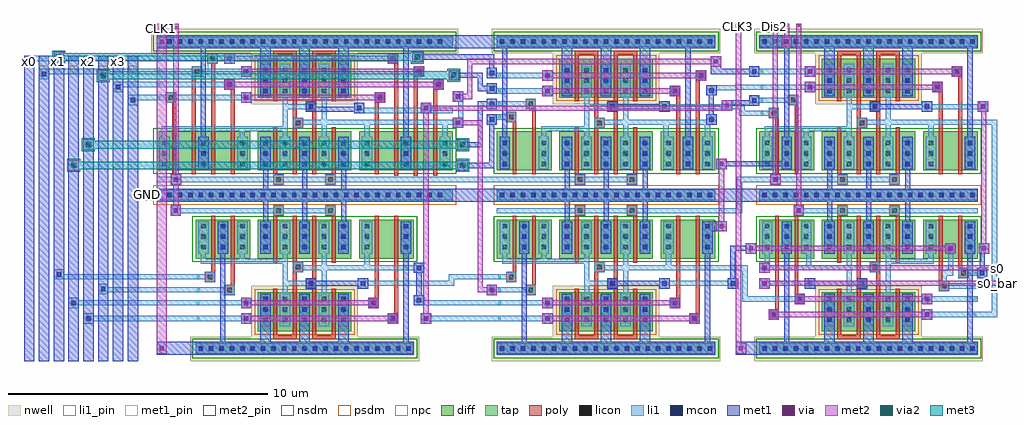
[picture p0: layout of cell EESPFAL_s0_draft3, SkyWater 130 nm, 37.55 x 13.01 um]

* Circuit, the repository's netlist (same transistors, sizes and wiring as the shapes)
* NGSPICE file created from EESPFAL_s0_draft3.ext - technology: sky130A

.subckt EESPFAL_XOR_v3 OUT A A_bar B B_bar Dis OUT_bar GND CLK
X0 CLK OUT OUT_bar CLK sky130_fd_pr__pfet_01v8 ad=2.7e+12p pd=1.26e+07u as=9e+11p ps=4.2e+06u w=1.5e+06u l=150000u M=2
X1 OUT_bar Dis GND GND sky130_fd_pr__nfet_01v8 ad=2.7e+12p pd=1.26e+07u as=2.7e+12p ps=1.26e+07u w=1.5e+06u l=150000u
X2 a_n840_410# A CLK GND sky130_fd_pr__nfet_01v8 ad=9e+11p pd=4.2e+06u as=7.5e+12p ps=3.22e+07u w=1.5e+06u l=150000u
X3 a_n1140_410# B_bar OUT_bar GND sky130_fd_pr__nfet_01v8 ad=9e+11p pd=4.2e+06u as=0p ps=0u w=1.5e+06u l=150000u
X4 a_420_410# B_bar OUT GND sky130_fd_pr__nfet_01v8 ad=9e+11p pd=4.2e+06u as=2.7e+12p ps=1.26e+07u w=1.5e+06u l=150000u
X5 GND Dis OUT GND sky130_fd_pr__nfet_01v8 ad=0p pd=0u as=0p ps=0u w=1.5e+06u l=150000u
X6 OUT OUT_bar CLK CLK sky130_fd_pr__pfet_01v8 ad=9e+11p pd=4.2e+06u as=0p ps=0u w=1.5e+06u l=150000u M=2
X7 a_720_410# A_bar CLK GND sky130_fd_pr__nfet_01v8 ad=9e+11p pd=4.2e+06u as=0p ps=0u w=1.5e+06u l=150000u
X8 OUT_bar B a_n840_410# GND sky130_fd_pr__nfet_01v8 ad=0p pd=0u as=0p ps=0u w=1.5e+06u l=150000u
X9 GND OUT OUT_bar GND sky130_fd_pr__nfet_01v8 ad=0p pd=0u as=0p ps=0u w=1.5e+06u l=150000u
X10 CLK A_bar a_n1140_410# GND sky130_fd_pr__nfet_01v8 ad=0p pd=0u as=0p ps=0u w=1.5e+06u l=150000u
X11 OUT OUT_bar GND GND sky130_fd_pr__nfet_01v8 ad=0p pd=0u as=0p ps=0u w=1.5e+06u l=150000u
X12 CLK A a_420_410# GND sky130_fd_pr__nfet_01v8 ad=0p pd=0u as=0p ps=0u w=1.5e+06u l=150000u
X13 OUT B a_720_410# GND sky130_fd_pr__nfet_01v8 ad=0p pd=0u as=0p ps=0u w=1.5e+06u l=150000u
.ends

.subckt EESPFAL_NOR_v3 OUT A A_bar B B_bar Dis OUT_bar GND CLK
X0 a_n1820_550# A_bar CLK GND sky130_fd_pr__nfet_01v8 ad=9e+11p pd=4.2e+06u as=6e+12p ps=2.62e+07u w=1.5e+06u l=150000u
X1 OUT_bar Dis GND GND sky130_fd_pr__nfet_01v8 ad=1.8e+12p pd=8.4e+06u as=2.7e+12p ps=1.26e+07u w=1.5e+06u l=150000u
X2 OUT OUT_bar CLK CLK sky130_fd_pr__pfet_01v8 ad=9e+11p pd=4.2e+06u as=2.7e+12p ps=1.26e+07u w=1.5e+06u l=150000u M=2
X3 CLK OUT OUT_bar CLK sky130_fd_pr__pfet_01v8 ad=0p pd=0u as=9e+11p ps=4.2e+06u w=1.5e+06u l=150000u M=2
X4 OUT_bar B_bar a_n1820_550# GND sky130_fd_pr__nfet_01v8 ad=0p pd=0u as=0p ps=0u w=1.5e+06u l=150000u
X5 GND Dis OUT GND sky130_fd_pr__nfet_01v8 ad=0p pd=0u as=2.7e+12p ps=1.26e+07u w=1.5e+06u l=150000u
X6 OUT A CLK GND sky130_fd_pr__nfet_01v8 ad=0p pd=0u as=0p ps=0u w=1.5e+06u l=150000u
X7 GND OUT OUT_bar GND sky130_fd_pr__nfet_01v8 ad=0p pd=0u as=0p ps=0u w=1.5e+06u l=150000u
X8 OUT OUT_bar GND GND sky130_fd_pr__nfet_01v8 ad=0p pd=0u as=0p ps=0u w=1.5e+06u l=150000u
X9 CLK B OUT GND sky130_fd_pr__nfet_01v8 ad=0p pd=0u as=0p ps=0u w=1.5e+06u l=150000u
.ends

.subckt EESPFAL_NAND_v3 OUT A A_bar B B_bar Dis OUT_bar GND CLK
X0 CLK OUT_bar OUT CLK sky130_fd_pr__pfet_01v8 ad=2.7e+12p pd=1.26e+07u as=9e+11p ps=4.2e+06u w=1.5e+06u l=150000u M=2
X1 CLK A a_n2940_320# GND sky130_fd_pr__nfet_01v8 ad=6e+12p pd=2.62e+07u as=9e+11p ps=4.2e+06u w=1.5e+06u l=150000u
X2 CLK OUT OUT_bar CLK sky130_fd_pr__pfet_01v8 ad=0p pd=0u as=9e+11p ps=4.2e+06u w=1.5e+06u l=150000u M=2
X3 CLK B_bar OUT_bar GND sky130_fd_pr__nfet_01v8 ad=0p pd=0u as=2.7e+12p ps=1.26e+07u w=1.5e+06u l=150000u
X4 OUT OUT_bar GND GND sky130_fd_pr__nfet_01v8 ad=1.8e+12p pd=8.4e+06u as=2.7e+12p ps=1.26e+07u w=1.5e+06u l=150000u
X5 OUT_bar Dis GND GND sky130_fd_pr__nfet_01v8 ad=0p pd=0u as=0p ps=0u w=1.5e+06u l=150000u
X6 OUT_bar A_bar CLK GND sky130_fd_pr__nfet_01v8 ad=0p pd=0u as=0p ps=0u w=1.5e+06u l=150000u
X7 a_n2940_320# B OUT GND sky130_fd_pr__nfet_01v8 ad=0p pd=0u as=0p ps=0u w=1.5e+06u l=150000u
X8 GND Dis OUT GND sky130_fd_pr__nfet_01v8 ad=0p pd=0u as=0p ps=0u w=1.5e+06u l=150000u
X9 GND OUT OUT_bar GND sky130_fd_pr__nfet_01v8 ad=0p pd=0u as=0p ps=0u w=1.5e+06u l=150000u
.ends

.subckt EESPFAL_s0_draft3 GND x0 x0_bar x1 x1_bar x2 x2_bar x3 x3_bar CLK1 Dis1 CLK3
+ Dis2 CLK2 Dis3 s0 s0_bar
XEESPFAL_XOR_v3_0 EESPFAL_NAND_v3_0/A x0 x0_bar x3 x3_bar Dis1 EESPFAL_NAND_v3_2/A
+ GND CLK1 EESPFAL_XOR_v3
XEESPFAL_NOR_v3_0 s0 EESPFAL_NOR_v3_0/A EESPFAL_NOR_v3_0/A_bar EESPFAL_NOR_v3_0/B
+ EESPFAL_NOR_v3_0/B_bar Dis3 s0_bar GND CLK3 EESPFAL_NOR_v3
XEESPFAL_NOR_v3_1 EESPFAL_NAND_v3_0/B x1 x1_bar x2_bar x2 Dis1 EESPFAL_NAND_v3_0/B_bar
+ GND CLK1 EESPFAL_NOR_v3
XEESPFAL_NAND_v3_0 EESPFAL_NOR_v3_0/A EESPFAL_NAND_v3_0/A EESPFAL_NAND_v3_2/A EESPFAL_NAND_v3_0/B
+ EESPFAL_NAND_v3_0/B_bar Dis2 EESPFAL_NOR_v3_0/A_bar GND CLK2 EESPFAL_NAND_v3
XEESPFAL_NAND_v3_1 EESPFAL_NAND_v3_2/B x2 x2_bar x1_bar x1 Dis1 EESPFAL_NAND_v3_2/B_bar
+ GND CLK1 EESPFAL_NAND_v3
XEESPFAL_NAND_v3_2 EESPFAL_NOR_v3_0/B EESPFAL_NAND_v3_2/A EESPFAL_NAND_v3_0/A EESPFAL_NAND_v3_2/B
+ EESPFAL_NAND_v3_2/B_bar Dis2 EESPFAL_NOR_v3_0/B_bar GND CLK2 EESPFAL_NAND_v3
.ends

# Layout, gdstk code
from math import pi, radians
import gdstk
lib = gdstk.Library(unit=1e-6, precision=1e-09)
def R(c, l, rs):  # rectangles x0, y0, x1, y1
    for r in rs: c.add(gdstk.rectangle(r[:2], r[2:], *l))
def A(c, l, x, y, w, h, nx, ny, dx, dy):  # array of equal rectangles
    R(c, l, [(x+i*dx, y+j*dy, x+i*dx+w, y+j*dy+h) for i in range(nx) for j in range(ny)])
def P(c, l, *ps):  # polygons
    for p in ps: c.add(gdstk.Polygon(p, *l))
nwell = (64, 20)
diff = (65, 20)
tap = (65, 44)
poly = (66, 20)
licon = (66, 44)
li1_pin = (67, 16)
li1 = (67, 20)
mcon = (67, 44)
met1_pin = (68, 16)
met1 = (68, 20)
via = (68, 44)
met2_pin = (69, 16)
met2 = (69, 20)
via2 = (69, 44)
met3 = (70, 20)
nsdm = (93, 44)
psdm = (94, 20)
npc = (95, 20)

eespfal_nor_v3 = lib.new_cell('EESPFAL_NOR_v3')
R(eespfal_nor_v3, nwell, [(-7.7,5.3,-3.6,7.25), (-10.05,7.25,-1.25,8.2)])
R(eespfal_nor_v3, diff, [(-9.85,2.75,-7.75,4.25), (-7.45,2.75,-3.85,4.25), (-3.55,2.75,-1.45,4.25), (-7.45,5.55,-3.85,7.05)])
R(eespfal_nor_v3, tap, [(-9.85,1.55,-1.45,2.05), (-9.85,7.45,-1.45,7.95)])
R(eespfal_nor_v3, poly, [(-6.85,2.2,-6.45,2.6), (-4.85,2.2,-4.45,2.6), (-9.25,2.6,-9.1,4.6), (-8.5,2.6,-8.35,5.1), (-6.85,2.6,-6.7,4.4), (-6.1,2.6,-5.95,4.4), (-5.35,2.6,-5.2,5), (-4.6,2.6,-4.45,4.4), (-2.95,2.6,-2.8,5.6), (-2.2,2.6,-2.05,6.2), (-6.1,4.375,-5.7,4.775), (-9.5,4.6,-9.1,5), (-6.1,4.775,-5.95,7.2), (-5.6,5,-5.2,5.4), (-8.75,5.1,-8.35,5.5), (-6.85,5.4,-6.7,7.2), (-5.35,5.4,-5.2,7.2), (-4.6,5.4,-4.45,7.2), (-3.2,5.6,-2.8,6), (-2.2,6.2,-1.8,6.6), (-6.85,7.2,-5.95,7.35), (-5.35,7.2,-4.45,7.35)])
A(eespfal_nor_v3, licon, -9.735, 1.715, 0.17, 0.17, 21, 2, 0.4, 5.9)
A(eespfal_nor_v3, licon, -9.635, 2.915, 0.17, 0.17, 1, 3, 0, 0.4)
A(eespfal_nor_v3, licon, -8.135, 2.915, 0.17, 0.17, 1, 3, 0, 0.4)
A(eespfal_nor_v3, licon, -7.235, 2.915, 0.17, 0.17, 5, 3, 0.75, 0.4)
A(eespfal_nor_v3, licon, -3.335, 2.915, 0.17, 0.17, 3, 3, 0.75, 0.4)
A(eespfal_nor_v3, licon, -7.235, 5.715, 0.17, 0.17, 5, 3, 0.75, 0.4)
R(eespfal_nor_v3, licon, [(-6.735,2.315,-6.565,2.485), (-4.735,2.315,-4.565,2.485), (-5.985,4.49,-5.815,4.66), (-9.385,4.715,-9.215,4.885), (-5.485,5.115,-5.315,5.285), (-8.635,5.215,-8.465,5.385), (-3.085,5.715,-2.915,5.885), (-2.085,6.315,-1.915,6.485)])
A(eespfal_nor_v3, li1_pin, -9.8, 4.75, 0.1, 0.1, 1, 3, 0, 0.5)
R(eespfal_nor_v3, li1_pin, [(-6.75,2.3,-6.55,2.5), (-6,4.475,-5.8,4.675), (-9.8,6.35,-9.7,6.45)])
A(eespfal_nor_v3, li1, -7.35, 2.8, 0.4, 1.25, 5, 1, 0.75, 0)
A(eespfal_nor_v3, li1, -3.45, 2.8, 0.4, 1.25, 3, 1, 0.75, 0)
A(eespfal_nor_v3, li1, -8.1, 5.6, 0.4, 0.1, 1, 4, 0, 0.3)
A(eespfal_nor_v3, li1, -7.35, 5.6, 0.4, 1.25, 3, 1, 1.5, 0)
R(eespfal_nor_v3, li1, [(-9.85,1.6,-1.45,2), (-6.85,2.2,-6.45,2.3), (-4.85,2.2,-4.45,2.3), (-9.85,2.3,-4.45,2.5), (-6.85,2.5,-6.45,2.6), (-4.85,2.5,-4.45,2.6), (-9.75,2.8,-9.35,4.05), (-8.25,2.8,-7.85,4.05), (-3.45,4.05,-3.25,4.5), (-1.85,4.05,-1.65,4.5), (-6.1,4.375,-5.7,4.775), (-9.5,4.6,-9.1,4.7), (-9.85,4.7,-9.1,4.9), (-9.5,4.9,-9.1,5), (-5.6,5,-5.2,5.1), (-3.6,5,-3.2,5.1), (-8.75,5.1,-8.35,5.2), (-3.6,5.1,-1.45,5.3), (-9.85,5.2,-8.35,5.4), (-5.6,5.3,-5.2,5.4), (-3.6,5.3,-3.2,5.4), (-8.75,5.4,-8.35,5.5), (-6.6,5.55,-6.2,6.85), (-5.1,5.55,-4.7,6.85), (-3.2,5.6,-2.8,6), (-9.85,5.7,-7.7,5.9), (-2.2,6.2,-1.8,6.6), (-9.85,6.3,-7.7,6.5), (-9.85,7.5,-1.45,7.9)])
P(eespfal_nor_v3, li1, [(-5,4.05),(-5,4.5),(-5.7,4.5),(-5.7,4.7),(-5,4.7),(-5,5.55),(-4.8,5.55),(-4.8,4.7),(-1.45,4.7),(-1.45,4.5),(-4.8,4.5),(-4.8,4.05)],
  [(-8.15,4.05),(-8.15,4.45),(-6.5,4.45),(-6.5,5.55),(-6.3,5.55),(-6.3,5.3),(-5.2,5.3),(-5.2,5.1),(-6.3,5.1),(-6.3,4.05),(-6.5,4.05),(-6.5,4.25),(-7.95,4.25),(-7.95,4.05)])
A(eespfal_nor_v3, mcon, -9.735, 1.715, 0.17, 0.17, 21, 2, 0.4, 5.9)
A(eespfal_nor_v3, mcon, -9.635, 2.915, 0.17, 0.17, 1, 3, 0, 0.4)
A(eespfal_nor_v3, mcon, -7.235, 2.915, 0.17, 0.17, 3, 3, 1.5, 0.4)
A(eespfal_nor_v3, mcon, -2.585, 2.915, 0.17, 0.17, 1, 3, 0, 0.4)
A(eespfal_nor_v3, mcon, -7.235, 5.715, 0.17, 0.17, 3, 3, 1.5, 0.4)
R(eespfal_nor_v3, mcon, [(-5.485,5.115,-5.315,5.285), (-3.485,5.115,-3.315,5.285), (-7.985,5.715,-7.815,5.885), (-3.085,5.715,-2.915,5.885), (-7.985,6.315,-7.815,6.485), (-2.085,6.315,-1.915,6.485)])
R(eespfal_nor_v3, met1_pin, [(-5.75,1.7,-5.55,1.9), (-5.5,5.1,-5.3,5.3), (-5.75,7.6,-5.55,7.8)])
A(eespfal_nor_v3, met1, -7.25, 2.05, 0.2, 0.75, 3, 1, 1.5, 0)
A(eespfal_nor_v3, met1, -7.35, 2.8, 0.4, 1.25, 3, 1, 1.5, 0)
A(eespfal_nor_v3, met1, -7.35, 5.6, 0.4, 1.85, 3, 1, 1.5, 0)
R(eespfal_nor_v3, met1, [(-9.85,1.55,-1.45,2.05), (-9.75,2.8,-9.35,4.05), (-2.7,2.8,-2.3,4.05), (-9.65,4.05,-9.45,7.45), (-2.6,4.05,-2.4,7.45), (-5.6,5,-5.2,5.1), (-3.6,5,-3.2,5.1), (-5.6,5.1,-3.2,5.3), (-5.6,5.3,-5.2,5.4), (-3.6,5.3,-3.2,5.4), (-8.1,5.6,-7.7,6), (-3.2,5.6,-2.8,6), (-8.1,6.2,-7.7,6.6), (-2.2,6.2,-1.8,6.6), (-9.85,7.45,-1.45,7.95)])
R(eespfal_nor_v3, via, [(-7.975,5.725,-7.825,5.875), (-3.075,5.725,-2.925,5.875), (-7.975,6.325,-7.825,6.475), (-2.075,6.325,-1.925,6.475)])
A(eespfal_nor_v3, met2, -8.1, 5.6, 0.4, 0.1, 1, 4, 0, 0.3)
R(eespfal_nor_v3, met2, [(-3.2,5.6,-2.8,5.7), (-8.1,5.7,-2.8,5.9), (-3.2,5.9,-2.8,6), (-2.2,6.2,-1.8,6.3), (-8.1,6.3,-1.8,6.5), (-2.2,6.5,-1.8,6.6)])
R(eespfal_nor_v3, nsdm, [(-9.975,2.625,-1.325,4.375), (-9.975,7.325,-1.325,8.075)])
R(eespfal_nor_v3, psdm, [(-9.975,1.425,-1.325,2.175), (-7.575,5.425,-3.725,7.175)])
R(eespfal_nor_v3, npc, [(-6.835,2.215,-6.465,2.585), (-4.835,2.215,-4.465,2.585), (-6.085,4.39,-5.715,4.76), (-9.485,4.615,-9.115,4.985), (-5.585,5.015,-5.215,5.385), (-8.735,5.115,-8.365,5.485), (-3.185,5.615,-2.815,5.985), (-2.185,6.215,-1.815,6.585)])
eespfal_nor_v3.add(gdstk.Label('OUT', (-5.9,4.575), layer=67, texttype=16))
eespfal_nor_v3.add(gdstk.Label('A', (-9.75,6.4), layer=67, texttype=16))
eespfal_nor_v3.add(gdstk.Label('A_bar', (-9.75,4.8), layer=67, texttype=16))
eespfal_nor_v3.add(gdstk.Label('B', (-9.75,5.8), layer=67, texttype=16))
eespfal_nor_v3.add(gdstk.Label('B_bar', (-9.75,5.3), layer=67, texttype=16))
eespfal_nor_v3.add(gdstk.Label('Dis', (-6.65,2.4), layer=67, texttype=16))
eespfal_nor_v3.add(gdstk.Label('OUT_bar', (-5.4,5.2), layer=68, texttype=16))
eespfal_nor_v3.add(gdstk.Label('GND!', (-5.65,1.8), layer=68, texttype=16))
eespfal_nor_v3.add(gdstk.Label('CLK', (-5.65,7.7), layer=68, texttype=16))

eespfal_nand_v3 = lib.new_cell('EESPFAL_NAND_v3')
R(eespfal_nand_v3, nwell, [(-19.6,4.15,-15.5,6.1), (-21.95,6.1,-13.15,7.05)])
R(eespfal_nand_v3, diff, [(-21.75,1.6,-19.65,3.1), (-19.35,1.6,-15.75,3.1), (-15.45,1.6,-13.35,3.1), (-19.35,4.4,-15.75,5.9)])
R(eespfal_nand_v3, tap, [(-21.75,0.4,-13.35,0.9), (-21.75,6.3,-13.35,6.8)])
R(eespfal_nand_v3, poly, [(-18.75,1.05,-18.35,1.45), (-16.75,1.05,-16.35,1.45), (-21.15,1.45,-21,3.6), (-20.4,1.45,-20.25,4.1), (-18.75,1.45,-18.6,3.25), (-18,1.45,-17.85,3.25), (-17.25,1.45,-17.1,3.85), (-16.5,1.45,-16.35,3.25), (-14.85,1.45,-14.7,4.6), (-14.1,1.45,-13.95,5.2), (-18,3.225,-17.6,3.625), (-21.4,3.6,-21,4), (-18,3.625,-17.85,6.05), (-17.5,3.85,-17.1,4.25), (-20.65,4.1,-20.25,4.5), (-18.75,4.25,-18.6,6.05), (-17.25,4.25,-17.1,6.05), (-16.5,4.25,-16.35,6.05), (-15.1,4.6,-14.7,5), (-14.35,5.2,-13.95,5.6), (-18.75,6.05,-17.85,6.2), (-17.25,6.05,-16.35,6.2)])
A(eespfal_nand_v3, licon, -21.635, 0.565, 0.17, 0.17, 21, 2, 0.4, 5.9)
A(eespfal_nand_v3, licon, -21.535, 1.765, 0.17, 0.17, 3, 3, 0.75, 0.4)
A(eespfal_nand_v3, licon, -19.135, 1.765, 0.17, 0.17, 5, 3, 0.75, 0.4)
A(eespfal_nand_v3, licon, -15.235, 1.765, 0.17, 0.17, 1, 3, 0, 0.4)
A(eespfal_nand_v3, licon, -13.735, 1.765, 0.17, 0.17, 1, 3, 0, 0.4)
A(eespfal_nand_v3, licon, -19.135, 4.565, 0.17, 0.17, 5, 3, 0.75, 0.4)
R(eespfal_nand_v3, licon, [(-18.635,1.165,-18.465,1.335), (-16.635,1.165,-16.465,1.335), (-17.885,3.34,-17.715,3.51), (-21.285,3.715,-21.115,3.885), (-17.385,3.965,-17.215,4.135), (-20.535,4.215,-20.365,4.385), (-14.985,4.715,-14.815,4.885), (-14.235,5.315,-14.065,5.485)])
A(eespfal_nand_v3, li1_pin, -21.7, 3.75, 0.1, 0.1, 1, 3, 0, 0.5)
R(eespfal_nand_v3, li1_pin, [(-18.65,1.15,-18.45,1.35), (-17.9,3.325,-17.7,3.525), (-21.7,5.35,-21.6,5.45)])
A(eespfal_nand_v3, li1, -21.65, 1.65, 0.4, 1.25, 3, 1, 0.75, 0)
A(eespfal_nand_v3, li1, -19.25, 1.65, 0.4, 1.25, 5, 1, 0.75, 0)
A(eespfal_nand_v3, li1, -19.25, 4.45, 0.4, 1.25, 3, 1, 1.5, 0)
A(eespfal_nand_v3, li1, -20, 4.6, 0.4, 0.1, 1, 4, 0, 0.3)
R(eespfal_nand_v3, li1, [(-21.75,0.45,-13.35,0.85), (-18.75,1.05,-18.35,1.15), (-16.75,1.05,-16.35,1.15), (-21.75,1.15,-16.35,1.35), (-18.75,1.35,-18.35,1.45), (-16.75,1.35,-16.35,1.45), (-15.35,1.65,-14.95,2.9), (-13.85,1.65,-13.45,2.9), (-18,3.225,-17.6,3.625), (-21.4,3.6,-21,3.7), (-21.75,3.7,-21,3.9), (-17.5,3.85,-17.1,3.95), (-15.5,3.85,-15.1,3.95), (-21.4,3.9,-21,4), (-15.5,3.95,-13.35,4.15), (-20.65,4.1,-20.25,4.2), (-17.5,4.15,-17.1,4.25), (-15.5,4.15,-15.1,4.25), (-21.75,4.2,-20.25,4.4), (-20.65,4.4,-20.25,4.5), (-18.5,4.4,-18.1,5.7), (-17,4.4,-16.6,5.7), (-15.1,4.6,-14.7,5), (-21.75,4.7,-19.6,4.9), (-14.35,5.2,-13.95,5.6), (-21.75,5.3,-19.6,5.5), (-21.75,6.35,-13.35,6.75)])
P(eespfal_nand_v3, li1, [(-16.9,2.9),(-16.9,3.35),(-17.6,3.35),(-17.6,3.55),(-16.9,3.55),(-16.9,4.4),(-16.7,4.4),(-16.7,3.55),(-13.35,3.55),(-13.35,3.35),(-15.05,3.35),(-15.05,2.9),(-15.25,2.9),(-15.25,3.35),(-16.7,3.35),(-16.7,2.9)],
  [(-21.55,2.9),(-21.55,3.3),(-18.4,3.3),(-18.4,4.4),(-18.2,4.4),(-18.2,4.15),(-17.1,4.15),(-17.1,3.95),(-18.2,3.95),(-18.2,2.9),(-18.395,2.9),(-18.395,3.1),(-19.85,3.1),(-19.85,2.9),(-20.05,2.9),(-20.05,3.1),(-21.35,3.1),(-21.35,2.9)])
A(eespfal_nand_v3, mcon, -21.635, 0.565, 0.17, 0.17, 21, 2, 0.4, 5.9)
A(eespfal_nand_v3, mcon, -20.785, 1.765, 0.17, 0.17, 1, 3, 0, 0.4)
A(eespfal_nand_v3, mcon, -19.135, 1.765, 0.17, 0.17, 3, 3, 1.5, 0.4)
A(eespfal_nand_v3, mcon, -13.735, 1.765, 0.17, 0.17, 1, 3, 0, 0.4)
A(eespfal_nand_v3, mcon, -19.135, 4.565, 0.17, 0.17, 3, 3, 1.5, 0.4)
R(eespfal_nand_v3, mcon, [(-17.385,3.965,-17.215,4.135), (-15.385,3.965,-15.215,4.135), (-19.885,4.715,-19.715,4.885), (-14.985,4.715,-14.815,4.885), (-19.885,5.315,-19.715,5.485), (-14.235,5.315,-14.065,5.485)])
R(eespfal_nand_v3, met1_pin, [(-17.65,0.55,-17.45,0.75), (-17.4,3.95,-17.2,4.15), (-17.65,6.45,-17.45,6.65)])
A(eespfal_nand_v3, met1, -19.15, 0.9, 0.2, 0.75, 3, 1, 1.5, 0)
A(eespfal_nand_v3, met1, -19.25, 1.65, 0.4, 1.25, 3, 1, 1.5, 0)
A(eespfal_nand_v3, met1, -19.25, 4.45, 0.4, 1.85, 3, 1, 1.5, 0)
R(eespfal_nand_v3, met1, [(-21.75,0.4,-13.35,0.9), (-20.9,1.65,-20.5,2.9), (-13.85,1.65,-13.45,2.9), (-20.8,2.9,-20.6,6.3), (-13.75,2.9,-13.55,6.3), (-17.5,3.85,-17.1,3.95), (-15.5,3.85,-15.1,3.95), (-17.5,3.95,-15.1,4.15), (-17.5,4.15,-17.1,4.25), (-15.5,4.15,-15.1,4.25), (-20,4.6,-19.6,5), (-15.1,4.6,-14.7,5), (-20,5.2,-19.6,5.6), (-14.35,5.2,-13.95,5.6), (-21.75,6.3,-13.35,6.8)])
R(eespfal_nand_v3, via, [(-19.875,4.725,-19.725,4.875), (-14.975,4.725,-14.825,4.875), (-19.875,5.325,-19.725,5.475), (-14.225,5.325,-14.075,5.475)])
A(eespfal_nand_v3, met2, -20, 4.6, 0.4, 0.1, 1, 4, 0, 0.3)
R(eespfal_nand_v3, met2, [(-15.1,4.6,-14.7,4.7), (-20,4.7,-14.7,4.9), (-15.1,4.9,-14.7,5), (-14.35,5.2,-13.95,5.3), (-20,5.3,-13.95,5.5), (-14.35,5.5,-13.95,5.6)])
R(eespfal_nand_v3, nsdm, [(-21.875,1.475,-13.225,3.225), (-21.875,6.175,-13.225,6.925)])
R(eespfal_nand_v3, psdm, [(-21.875,0.275,-13.225,1.025), (-19.475,4.275,-15.625,6.025)])
R(eespfal_nand_v3, npc, [(-18.735,1.065,-18.365,1.435), (-16.735,1.065,-16.365,1.435), (-17.985,3.24,-17.615,3.61), (-21.385,3.615,-21.015,3.985), (-17.485,3.865,-17.115,4.235), (-20.635,4.115,-20.265,4.485), (-15.085,4.615,-14.715,4.985), (-14.335,5.215,-13.965,5.585)])
eespfal_nand_v3.add(gdstk.Label('OUT', (-17.8,3.425), layer=67, texttype=16))
eespfal_nand_v3.add(gdstk.Label('A', (-21.65,5.4), layer=67, texttype=16))
eespfal_nand_v3.add(gdstk.Label('A_bar', (-21.65,4.3), layer=67, texttype=16))
eespfal_nand_v3.add(gdstk.Label('B', (-21.65,4.8), layer=67, texttype=16))
eespfal_nand_v3.add(gdstk.Label('B_bar', (-21.65,3.8), layer=67, texttype=16))
eespfal_nand_v3.add(gdstk.Label('Dis', (-18.55,1.25), layer=67, texttype=16))
eespfal_nand_v3.add(gdstk.Label('OUT_bar', (-17.3,4.05), layer=68, texttype=16))
eespfal_nand_v3.add(gdstk.Label('GND!', (-17.55,0.65), layer=68, texttype=16))
eespfal_nand_v3.add(gdstk.Label('CLK', (-17.55,6.55), layer=68, texttype=16))

li_mcon_m1 = lib.new_cell('Li_mcon_M1')
R(li_mcon_m1, li1, [(-0.1,-0.1,0.3,0.3)])
R(li_mcon_m1, mcon, [(0.015,0.015,0.185,0.185)])
R(li_mcon_m1, met1, [(-0.1,-0.1,0.3,0.3)])

li_via_m2 = lib.new_cell('Li_via_M2')
R(li_via_m2, li1, [(-0.2,-0.19,0.2,0.21)])
R(li_via_m2, mcon, [(-0.085,-0.075,0.085,0.095)])
R(li_via_m2, met1, [(-0.2,-0.19,0.2,0.21)])
R(li_via_m2, via, [(-0.075,-0.065,0.075,0.085)])
R(li_via_m2, met2, [(-0.2,-0.19,0.2,0.21)])

m1_via_m2 = lib.new_cell('M1_via_M2')
R(m1_via_m2, met1, [(-0.2,-0.19,0.2,0.21)])
R(m1_via_m2, via, [(-0.075,-0.065,0.075,0.085)])
R(m1_via_m2, met2, [(-0.2,-0.19,0.2,0.21)])

eespfal_xor_v3 = lib.new_cell('EESPFAL_XOR_v3')
R(eespfal_xor_v3, nwell, [(-2.8,4.6,1.3,6.55), (-6.65,6.55,5.15,7.5)])
A(eespfal_xor_v3, diff, -6.45, 2.05, 3.6, 1.5, 3, 1, 3.9, 0)
R(eespfal_xor_v3, diff, [(-2.55,4.85,1.05,6.35)])
R(eespfal_xor_v3, tap, [(-6.45,0.85,4.95,1.35), (-6.45,6.75,4.95,7.25)])
R(eespfal_xor_v3, poly, [(-1.95,1.5,-1.55,1.9), (0.05,1.5,0.45,1.9), (2.7,1.85,2.85,6.15), (3.45,1.85,3.6,5.65), (4.2,1.85,4.35,5.15), (-5.85,1.9,-5.7,4.65), (-5.1,1.9,-4.95,5.65), (-4.35,1.9,-4.2,6.15), (-3.6,1.9,-3.45,5.15), (-1.95,1.9,-1.8,3.7), (-1.2,1.9,-1.05,3.7), (-0.45,1.9,-0.3,4.3), (0.3,1.9,0.45,3.7), (1.95,1.9,2.1,4.65), (-1.2,3.675,-0.8,4.075), (-1.2,4.075,-1.05,6.5), (-0.7,4.3,-0.3,4.7), (-6.1,4.65,-5.7,5.05), (1.95,4.65,2.35,5.05), (-1.95,4.7,-1.8,6.5), (-0.45,4.7,-0.3,6.5), (0.3,4.7,0.45,6.5), (-3.85,5.15,-3.45,5.55), (4.2,5.15,4.6,5.55), (-5.1,5.65,-4.7,6.05), (3.45,5.65,3.85,6.05), (-4.5,6.15,-4.1,6.55), (2.45,6.15,2.85,6.55), (-1.95,6.5,-1.05,6.65), (-0.45,6.5,0.45,6.65)])
A(eespfal_xor_v3, licon, -6.035, 1.015, 0.17, 0.17, 27, 2, 0.4, 5.9)
A(eespfal_xor_v3, licon, -6.235, 2.215, 0.17, 0.17, 3, 3, 1.5, 0.4)
A(eespfal_xor_v3, licon, -2.335, 2.215, 0.17, 0.17, 5, 3, 0.75, 0.4)
A(eespfal_xor_v3, licon, 1.565, 2.215, 0.17, 0.17, 3, 3, 1.5, 0.4)
A(eespfal_xor_v3, licon, -2.335, 5.015, 0.17, 0.17, 5, 3, 0.75, 0.4)
R(eespfal_xor_v3, licon, [(-1.835,1.615,-1.665,1.785), (0.165,1.615,0.335,1.785), (-1.085,3.79,-0.915,3.96), (-0.585,4.415,-0.415,4.585), (-5.985,4.765,-5.815,4.935), (2.065,4.765,2.235,4.935), (-3.735,5.265,-3.565,5.435), (4.315,5.265,4.485,5.435), (-4.985,5.765,-4.815,5.935), (3.565,5.765,3.735,5.935), (-4.385,6.265,-4.215,6.435), (2.565,6.265,2.735,6.435)])
A(eespfal_xor_v3, li1_pin, -6.4, 4.8, 0.1, 0.1, 1, 4, 0, 0.5)
R(eespfal_xor_v3, li1_pin, [(-1.85,1.6,-1.65,1.8), (-1.1,3.775,-0.9,3.975)])
A(eespfal_xor_v3, li1, -6.35, 2.1, 0.4, 1.25, 3, 1, 1.5, 0)
A(eespfal_xor_v3, li1, -2.45, 2.1, 0.4, 1.25, 5, 1, 0.75, 0)
A(eespfal_xor_v3, li1, 1.45, 2.1, 0.4, 1.25, 3, 1, 1.5, 0)
A(eespfal_xor_v3, li1, -2.45, 4.9, 0.4, 1.25, 3, 1, 1.5, 0)
R(eespfal_xor_v3, li1, [(-6.45,0.9,4.95,1.3), (-1.95,1.5,-1.55,1.6), (0.05,1.5,0.45,1.6), (-6.45,1.6,0.45,1.8), (-1.95,1.8,-1.55,1.9), (0.05,1.8,0.45,1.9), (-6.25,3.35,-6.05,3.55), (-3.25,3.35,-3.05,3.55), (1.55,3.35,1.75,3.8), (4.55,3.35,4.75,3.8), (-6.25,3.55,-1.4,3.75), (-0.1,3.55,0.1,3.8), (-1.2,3.675,-0.8,4.075), (-1.6,3.75,-1.4,4.4), (-0.8,3.8,4.95,4), (-0.1,4,0.1,4.85), (1.15,4.25,4.95,4.45), (-0.7,4.3,-0.3,4.4), (-1.6,4.4,-0.3,4.6), (1.15,4.45,1.55,4.65), (-1.6,4.6,-1.4,4.85), (-0.7,4.6,-0.3,4.7), (-6.1,4.65,-5.7,4.75), (-3.2,4.65,-2.8,4.75), (1.95,4.65,2.35,5.05), (-6.45,4.75,-2.8,4.95), (-1.7,4.85,-1.3,6.15), (-0.2,4.85,0.2,6.15), (-6.1,4.95,-5.7,5.05), (-3.2,4.95,-2.8,5.05), (-3.85,5.15,-3.45,5.25), (4.2,5.15,4.6,5.55), (-6.45,5.25,-3.45,5.45), (-3.85,5.45,-3.45,5.55), (-5.1,5.65,-4.7,5.75), (-3.2,5.65,-2.8,5.75), (3.45,5.65,3.85,6.05), (-6.45,5.75,-2.8,5.95), (-5.1,5.95,-4.7,6.05), (-3.2,5.95,-2.8,6.05), (-4.5,6.15,-4.1,6.25), (-3.85,6.15,-3.45,6.25), (2.45,6.15,2.85,6.55), (-6.45,6.25,-3.45,6.45), (-4.5,6.45,-4.1,6.55), (-3.85,6.45,-3.45,6.55), (-6.45,6.8,4.95,7.2)])
A(eespfal_xor_v3, mcon, -6.035, 1.015, 0.17, 0.17, 27, 2, 0.4, 5.9)
A(eespfal_xor_v3, mcon, -4.735, 2.215, 0.17, 0.17, 1, 3, 0, 0.4)
A(eespfal_xor_v3, mcon, -2.335, 2.215, 0.17, 0.17, 3, 3, 1.5, 0.4)
A(eespfal_xor_v3, mcon, 3.065, 2.215, 0.17, 0.17, 1, 3, 0, 0.4)
A(eespfal_xor_v3, mcon, -2.335, 5.015, 0.17, 0.17, 3, 3, 1.5, 0.4)
R(eespfal_xor_v3, mcon, [(1.265,4.365,1.435,4.535), (-0.585,4.415,-0.415,4.585), (-3.085,4.765,-2.915,4.935), (2.065,4.765,2.235,4.935), (-3.735,5.265,-3.565,5.435), (4.315,5.265,4.485,5.435), (-3.085,5.765,-2.915,5.935), (3.565,5.765,3.735,5.935), (-3.735,6.265,-3.565,6.435), (2.565,6.265,2.735,6.435)])
R(eespfal_xor_v3, met1_pin, [(-0.85,1,-0.65,1.2), (-0.6,4.4,-0.4,4.6), (-0.85,6.9,-0.65,7.1)])
A(eespfal_xor_v3, met1, -2.35, 1.35, 0.2, 0.75, 3, 1, 1.5, 0)
A(eespfal_xor_v3, met1, -2.45, 2.1, 0.4, 1.25, 3, 1, 1.5, 0)
A(eespfal_xor_v3, met1, -2.45, 4.9, 0.4, 1.85, 3, 1, 1.5, 0)
R(eespfal_xor_v3, met1, [(-6.45,0.85,4.95,1.35), (-4.85,2.1,-4.45,3.35), (2.95,2.1,3.35,3.35), (-4.75,3.35,-4.55,6.75), (3.05,3.35,3.25,6.75), (1.15,4.25,1.55,4.3), (-0.7,4.3,1.55,4.5), (-0.7,4.5,-0.3,4.7), (1.15,4.5,1.55,4.65), (-3.2,4.65,-2.8,5.05), (1.95,4.65,2.35,5.05), (-3.85,5.15,-3.45,5.55), (4.2,5.15,4.6,5.55), (-3.2,5.65,-2.8,6.05), (3.45,5.65,3.85,6.05), (-3.85,6.15,-3.45,6.55), (2.45,6.15,2.85,6.55), (-6.45,6.75,4.95,7.25)])
R(eespfal_xor_v3, via, [(-3.075,4.775,-2.925,4.925), (2.075,4.775,2.225,4.925), (-3.725,5.275,-3.575,5.425), (4.325,5.275,4.475,5.425), (-3.075,5.775,-2.925,5.925), (3.575,5.775,3.725,5.925), (-3.725,6.275,-3.575,6.425), (2.575,6.275,2.725,6.425)])
R(eespfal_xor_v3, met2, [(-3.2,4.65,-2.8,4.75), (1.95,4.65,2.35,4.75), (-3.2,4.75,2.35,4.95), (-3.2,4.95,-2.8,5.05), (1.95,4.95,2.35,5.05), (-3.85,5.15,-3.45,5.25), (4.2,5.15,4.6,5.25), (-3.85,5.25,4.6,5.45), (-3.85,5.45,-3.45,5.55), (4.2,5.45,4.6,5.55), (-3.2,5.65,-2.8,5.75), (3.45,5.65,3.85,5.75), (-3.2,5.75,3.85,5.95), (-3.2,5.95,-2.8,6.05), (3.45,5.95,3.85,6.05), (-3.85,6.15,-3.45,6.25), (2.45,6.15,2.85,6.25), (-3.85,6.25,2.85,6.45), (-3.85,6.45,-3.45,6.55), (2.45,6.45,2.85,6.55)])
R(eespfal_xor_v3, nsdm, [(-6.575,1.925,5.075,3.675), (-6.575,6.625,5.075,7.375)])
R(eespfal_xor_v3, psdm, [(-6.575,0.725,5.075,1.475), (-2.675,4.725,1.175,6.475)])
R(eespfal_xor_v3, npc, [(-1.935,1.515,-1.565,1.885), (0.065,1.515,0.435,1.885), (-1.185,3.69,-0.815,4.06), (-0.685,4.315,-0.315,4.685), (-6.085,4.665,-5.715,5.035), (1.965,4.665,2.335,5.035), (-3.835,5.165,-3.465,5.535), (4.215,5.165,4.585,5.535), (-5.085,5.665,-4.715,5.765), (3.465,5.665,3.835,6.035), (-5.085,5.765,-4.465,6.035), (-4.735,6.035,-4.465,6.165), (-4.735,6.165,-4.115,6.435), (2.465,6.165,2.835,6.535), (-4.485,6.435,-4.115,6.535)])
eespfal_xor_v3.add(gdstk.FlexPath([(-1.5,3.35),(-1.5,3.55)], 0.2, ends="flush", simple_path=True, layer=67, datatype=20))  # li1
eespfal_xor_v3.add(gdstk.FlexPath([(0,3.35),(0,3.55)], 0.2, ends="flush", simple_path=True, layer=67, datatype=20))  # li1
eespfal_xor_v3.add(gdstk.Label('OUT', (-1,3.875), layer=67, texttype=16))
eespfal_xor_v3.add(gdstk.Label('A', (-6.35,6.35), layer=67, texttype=16))
eespfal_xor_v3.add(gdstk.Label('A_bar', (-6.35,5.85), layer=67, texttype=16))
eespfal_xor_v3.add(gdstk.Label('B', (-6.35,5.35), layer=67, texttype=16))
eespfal_xor_v3.add(gdstk.Label('B_bar', (-6.35,4.85), layer=67, texttype=16))
eespfal_xor_v3.add(gdstk.Label('Dis', (-1.75,1.7), layer=67, texttype=16))
eespfal_xor_v3.add(gdstk.Label('OUT_bar', (-0.5,4.5), layer=68, texttype=16))
eespfal_xor_v3.add(gdstk.Label('GND!', (-0.75,1.1), layer=68, texttype=16))
eespfal_xor_v3.add(gdstk.Label('CLK', (-0.75,7), layer=68, texttype=16))

m1_m3 = lib.new_cell('M1_M3')
R(m1_m3, met1, [(-0.5,-0.4,-0.1,0)])
R(m1_m3, via, [(-0.375,-0.27,-0.225,-0.12)])
R(m1_m3, met2, [(-0.5,-0.4,-0.1,0)])
R(m1_m3, via2, [(-0.4,-0.295,-0.2,-0.095)])
R(m1_m3, met3, [(-0.55,-0.45,-0.05,0.05)])

eespfal_s0_draft3 = lib.new_cell('EESPFAL_s0_draft3')
R(eespfal_s0_draft3, li1, [(0.91,13.2,1.45,13.6)])
R(eespfal_s0_draft3, met1_pin, [(1,13.285,1.225,13.51), (-3.035,18.075,-2.73,18.375), (-1.89,18.075,-1.585,18.375), (-0.755,18.08,-0.45,18.38), (0.39,18.08,0.695,18.38), (-3.6,18.38,-3.295,18.68), (-2.46,18.38,-2.155,18.68), (-1.32,18.385,-1.015,18.685), (-0.18,18.385,0.125,18.685)])
A(eespfal_s0_draft3, met1, -3.65, 6.995, 0.4, 11.755, 4, 1, 0.57, 0)
R(eespfal_s0_draft3, met1, [(-0.8,6.995,-0.4,18.75), (0.34,6.995,0.74,18.75), (-1.37,7,-0.97,18.75), (-0.23,7,0.17,18.75), (22.77,18.25,23.17,18.34)])
R(eespfal_s0_draft3, met2_pin, [(33.775,9.95,33.85,10.025), (33.775,10.55,33.85,10.625), (1.543,19.722,1.743,19.922), (2.15,19.8,2.25,19.9), (23.79,19.86,23.89,19.96), (25.2,19.875,25.275,19.95), (25.65,19.875,25.725,19.95), (26.125,19.875,26.2,19.95)])
eespfal_s0_draft3.add(gdstk.FlexPath([(2.95,12.8),(1.99,12.8),(1.99,12.8)], 0.2, ends="flush", simple_path=True, layer=67, datatype=20))  # li1
eespfal_s0_draft3.add(gdstk.FlexPath([(0.91,18.65),(1.45,18.65)], 0.2, ends="flush", simple_path=True, layer=67, datatype=20))  # li1
eespfal_s0_draft3.add(gdstk.FlexPath([(0.91,18.15),(1.45,18.15)], 0.2, ends="flush", simple_path=True, layer=67, datatype=20))  # li1
eespfal_s0_draft3.add(gdstk.FlexPath([(0.91,17.65),(1.45,17.65)], 0.2, ends="flush", simple_path=True, layer=67, datatype=20))  # li1
eespfal_s0_draft3.add(gdstk.FlexPath([(0.91,17.15),(1.45,17.15)], 0.2, ends="flush", simple_path=True, layer=67, datatype=20))  # li1
eespfal_s0_draft3.add(gdstk.FlexPath([(14.55,14),(8.35,14)], 0.2, ends="flush", simple_path=True, layer=67, datatype=20))  # li1
eespfal_s0_draft3.add(gdstk.FlexPath([(24.65,16.545),(24.05,16.545)], 0.2, ends="flush", simple_path=True, layer=67, datatype=20))  # li1
eespfal_s0_draft3.add(gdstk.FlexPath([(23.98,16.875),(23.98,16.445)], 0.2, ends="flush", simple_path=True, layer=67, datatype=20))  # li1
eespfal_s0_draft3.add(gdstk.FlexPath([(22.95,16.8),(24.08,16.8)], 0.2, ends="flush", simple_path=True, layer=67, datatype=20))  # li1
eespfal_s0_draft3.add(gdstk.FlexPath([(24.65,17.55),(23.71,17.55)], 0.2, ends="flush", simple_path=True, layer=67, datatype=20))  # li1
eespfal_s0_draft3.add(gdstk.FlexPath([(13.15,16.99),(13.15,16.375)], 0.2, ends="flush", simple_path=True, layer=67, datatype=20))  # li1
eespfal_s0_draft3.add(gdstk.FlexPath([(23,17.53),(23.71,17.53)], 0.2, ends="flush", simple_path=True, layer=67, datatype=20))  # li1
eespfal_s0_draft3.add(gdstk.FlexPath([(12.85,16.2),(13.02,16.2)], 0.2, ends="flush", simple_path=True, layer=67, datatype=20))  # li1
eespfal_s0_draft3.add(gdstk.FlexPath([(-2.11,10.25),(2.95,10.25)], 0.2, ends="flush", simple_path=True, layer=67, datatype=20))  # li1
eespfal_s0_draft3.add(gdstk.FlexPath([(2.95,9.75),(-0.4,9.75)], 0.2, ends="flush", simple_path=True, layer=67, datatype=20))  # li1
eespfal_s0_draft3.add(gdstk.FlexPath([(2.95,9.25),(-1.54,9.25)], 0.2, ends="flush", simple_path=True, layer=67, datatype=20))  # li1
eespfal_s0_draft3.add(gdstk.FlexPath([(2.95,8.65),(-0.97,8.65)], 0.2, ends="flush", simple_path=True, layer=67, datatype=20))  # li1
eespfal_s0_draft3.add(gdstk.FlexPath([(14.55,8.65),(12.02,8.65)], 0.2, ends="flush", simple_path=True, layer=67, datatype=20))  # li1
eespfal_s0_draft3.add(gdstk.FlexPath([(11.75,9.25),(14.55,9.25)], 0.2, ends="flush", simple_path=True, layer=67, datatype=20))  # li1
eespfal_s0_draft3.add(gdstk.FlexPath([(14.55,10.25),(12.745,10.25)], 0.2, ends="flush", simple_path=True, layer=67, datatype=20))  # li1
eespfal_s0_draft3.add(gdstk.FlexPath([(11.345,10),(12.9,10)], 0.2, ends="flush", simple_path=True, layer=67, datatype=20))  # li1
eespfal_s0_draft3.add(gdstk.FlexPath([(12.8,10.35),(12.8,9.9)], 0.2, ends="flush", simple_path=True, layer=67, datatype=20))  # li1
eespfal_s0_draft3.add(gdstk.FlexPath([(26,9.4),(23.995,9.4)], 0.2, ends="flush", simple_path=True, layer=67, datatype=20))  # li1
eespfal_s0_draft3.add(gdstk.FlexPath([(22.95,10),(23.425,10)], 0.2, ends="flush", simple_path=True, layer=67, datatype=20))  # li1
eespfal_s0_draft3.add(gdstk.FlexPath([(24.095,10.525),(24.095,9.3)], 0.2, ends="flush", simple_path=True, layer=67, datatype=20))  # li1
eespfal_s0_draft3.add(gdstk.FlexPath([(22.95,10.6),(24.195,10.6)], 0.2, ends="flush", simple_path=True, layer=67, datatype=20))  # li1
eespfal_s0_draft3.add(gdstk.FlexPath([(32.005,11.15),(32.005,10.41)], 0.2, ends="flush", simple_path=True, layer=67, datatype=20))  # li1
eespfal_s0_draft3.add(gdstk.FlexPath([(31.71,10.4),(32.105,10.4)], 0.2, ends="flush", simple_path=True, layer=67, datatype=20))  # li1
eespfal_s0_draft3.add(gdstk.FlexPath([(31.75,10.1),(31.75,10.5)], 0.2, ends="flush", simple_path=True, layer=67, datatype=20))  # li1
eespfal_s0_draft3.add(gdstk.FlexPath([(19.95,12.8),(23.855,12.8)], 0.2, ends="flush", simple_path=True, layer=67, datatype=20))  # li1
eespfal_s0_draft3.add(gdstk.FlexPath([(23.885,14.075),(23.885,12.7)], 0.2, ends="flush", simple_path=True, layer=67, datatype=20))  # li1
eespfal_s0_draft3.add(gdstk.FlexPath([(24.65,14),(23.785,14)], 0.2, ends="flush", simple_path=True, layer=67, datatype=20))  # li1
eespfal_s0_draft3.add(gdstk.FlexPath([(33.69,8.77),(33.69,16.23)], 0.2, ends="flush", simple_path=True, layer=67, datatype=20))  # li1
eespfal_s0_draft3.add(gdstk.FlexPath([(33.05,8.8),(33.79,8.8)], 0.2, ends="flush", simple_path=True, layer=67, datatype=20))  # li1
eespfal_s0_draft3.add(gdstk.FlexPath([(33.05,16.2),(33.79,16.2)], 0.2, ends="flush", simple_path=True, layer=67, datatype=20))  # li1
eespfal_s0_draft3.add(gdstk.FlexPath([(26.36,12.8),(27.65,12.8)], 0.2, ends="flush", simple_path=True, layer=67, datatype=20))  # li1
eespfal_s0_draft3.add(gdstk.FlexPath([(0.91,18.65),(-1.37,18.65)], 0.2, ends="flush", simple_path=True, layer=67, datatype=20))  # li1
eespfal_s0_draft3.add(gdstk.FlexPath([(0.91,18.15),(-1.365,18.15)], 0.2, ends="flush", simple_path=True, layer=67, datatype=20))  # li1
eespfal_s0_draft3.add(gdstk.FlexPath([(0.91,17.65),(0.17,17.65)], 0.2, ends="flush", simple_path=True, layer=67, datatype=20))  # li1
eespfal_s0_draft3.add(gdstk.FlexPath([(0.91,17.15),(0.74,17.15)], 0.2, ends="flush", simple_path=True, layer=67, datatype=20))  # li1
eespfal_s0_draft3.add(gdstk.FlexPath([(-1.37,18.65),(-3.25,18.65)], 0.2, ends="flush", simple_path=True, layer=67, datatype=20))  # li1
eespfal_s0_draft3.add(gdstk.FlexPath([(-1.365,18.15),(-2.68,18.15)], 0.2, ends="flush", simple_path=True, layer=67, datatype=20))  # li1
eespfal_s0_draft3.add(gdstk.FlexPath([(13.09,18.01),(14.01,18.01)], 0.2, ends="flush", simple_path=True, layer=68, datatype=20))  # met1
eespfal_s0_draft3.add(gdstk.FlexPath([(22.99,12.2),(22.85,12.2)], 0.4, ends="flush", simple_path=True, layer=68, datatype=20))  # met1
eespfal_s0_draft3.add(gdstk.FlexPath([(2.95,7.5),(1.45,7.5)], 0.5, ends="flush", simple_path=True, layer=68, datatype=20))  # met1
eespfal_s0_draft3.add(gdstk.FlexPath([(33.22,10.605),(33.22,11.15)], 0.2, ends="flush", simple_path=True, layer=68, datatype=20))  # met1
eespfal_s0_draft3.add(gdstk.FlexPath([(24.65,7.5),(23.74,7.5)], 0.5, ends="flush", simple_path=True, layer=68, datatype=20))  # met1
eespfal_s0_draft3.add(gdstk.FlexPath([(11.69,18.71),(14.355,18.71)], 0.2, ends="flush", simple_path=True, layer=68, datatype=20))  # met1
eespfal_s0_draft3.add(gdstk.FlexPath([(14.35,18.3),(14.35,18.81)], 0.2, ends="flush", simple_path=True, layer=68, datatype=20))  # met1
eespfal_s0_draft3.add(gdstk.FlexPath([(13.91,18.11),(13.91,17.475)], 0.2, ends="flush", simple_path=True, layer=68, datatype=20))  # met1
eespfal_s0_draft3.add(gdstk.FlexPath([(13.81,17.5),(14.15,17.5)], 0.2, ends="flush", simple_path=True, layer=68, datatype=20))  # met1
eespfal_s0_draft3.add(gdstk.FlexPath([(13.91,16.96),(13.91,15.305)], 0.2, ends="flush", simple_path=True, layer=68, datatype=20))  # met1
eespfal_s0_draft3.add(gdstk.FlexPath([(13.425,15.34),(14.01,15.34)], 0.2, ends="flush", simple_path=True, layer=68, datatype=20))  # met1
eespfal_s0_draft3.add(gdstk.FlexPath([(14.15,16.9),(13.81,16.9)], 0.2, ends="flush", simple_path=True, layer=68, datatype=20))  # met1
eespfal_s0_draft3.add(gdstk.FlexPath([(13.305,14.54),(14.31,14.54)], 0.2, ends="flush", simple_path=True, layer=68, datatype=20))  # met1
eespfal_s0_draft3.add(gdstk.FlexPath([(14.35,16.1),(14.35,14.44)], 0.2, ends="flush", simple_path=True, layer=68, datatype=20))  # met1
eespfal_s0_draft3.add(gdstk.FlexPath([(22.795,17.355),(22.795,16.505),(22.795,16.5)], 0.2, ends="flush", simple_path=True, layer=68, datatype=20))  # met1
eespfal_s0_draft3.add(gdstk.FlexPath([(24.25,18.15),(22.77,18.15)], 0.2, ends="flush", simple_path=True, layer=68, datatype=20))  # met1
eespfal_s0_draft3.add(gdstk.FlexPath([(23.6,16.945),(24.25,16.945)], 0.2, ends="flush", simple_path=True, layer=68, datatype=20))  # met1
eespfal_s0_draft3.add(gdstk.FlexPath([(12.845,13.4),(14.55,13.4)], 0.5, ends="flush", simple_path=True, layer=68, datatype=20))  # met1
eespfal_s0_draft3.add(gdstk.FlexPath([(22.95,13.4),(24.65,13.4)], 0.5, ends="flush", simple_path=True, layer=68, datatype=20))  # met1
eespfal_s0_draft3.add(gdstk.FlexPath([(12.85,19.3),(14.55,19.3)], 0.5, ends="flush", simple_path=True, layer=68, datatype=20))  # met1
eespfal_s0_draft3.add(gdstk.FlexPath([(11.55,10.4),(11.55,9.55)], 0.2, ends="flush", simple_path=True, layer=68, datatype=20))  # met1
eespfal_s0_draft3.add(gdstk.FlexPath([(23.625,10.2),(23.625,11.4)], 0.2, ends="flush", simple_path=True, layer=68, datatype=20))  # met1
eespfal_s0_draft3.add(gdstk.FlexPath([(24.125,11.35),(23.525,11.35)], 0.2, ends="flush", simple_path=True, layer=68, datatype=20))  # met1
eespfal_s0_draft3.add(gdstk.FlexPath([(23.39,14.6),(25.5,14.6)], 0.2, ends="flush", simple_path=True, layer=68, datatype=20))  # met1
eespfal_s0_draft3.add(gdstk.FlexPath([(25.26,14.2),(25.26,20)], 0.2, ends="flush", simple_path=True, layer=69, datatype=20))  # met2
eespfal_s0_draft3.add(gdstk.FlexPath([(25.7,19.5),(25.7,20)], 0.2, ends="flush", simple_path=True, layer=69, datatype=20))  # met2
eespfal_s0_draft3.add(gdstk.FlexPath([(25.05,10.6),(33.905,10.6)], 0.2, ends="flush", simple_path=True, layer=69, datatype=20))  # met2
eespfal_s0_draft3.add(gdstk.FlexPath([(25.05,10),(33.905,10)], 0.2, ends="flush", simple_path=True, layer=69, datatype=20))  # met2
eespfal_s0_draft3.add(gdstk.FlexPath([(1.65,7.7),(1.65,20)], 0.4, ends="flush", simple_path=True, layer=69, datatype=20))  # met2
eespfal_s0_draft3.add(gdstk.FlexPath([(2.195,20),(2.195,12.6)], 0.2, ends="flush", simple_path=True, layer=69, datatype=20))  # met2
eespfal_s0_draft3.add(gdstk.FlexPath([(33.28,11.55),(33.28,16.6)], 0.2, ends="flush", simple_path=True, layer=69, datatype=20))  # met2
eespfal_s0_draft3.add(gdstk.FlexPath([(23.84,20),(23.84,7.7)], 0.2, ends="flush", simple_path=True, layer=69, datatype=20))  # met2
eespfal_s0_draft3.add(gdstk.FlexPath([(13.5,18.62),(13.5,17.15)], 0.2, ends="flush", simple_path=True, layer=69, datatype=20))  # met2
eespfal_s0_draft3.add(gdstk.FlexPath([(13.25,17.19),(13.6,17.19)], 0.2, ends="flush", simple_path=True, layer=69, datatype=20))  # met2
eespfal_s0_draft3.add(gdstk.FlexPath([(22.77,18.54),(13.4,18.54)], 0.2, ends="flush", simple_path=True, layer=69, datatype=20))  # met2
eespfal_s0_draft3.add(gdstk.FlexPath([(12.02,16.745),(23.6,16.745)], 0.2, ends="flush", simple_path=True, layer=69, datatype=20))  # met2
eespfal_s0_draft3.add(gdstk.FlexPath([(11.82,16.55),(11.82,8.85),(11.82,8.85)], 0.2, ends="flush", simple_path=True, layer=69, datatype=20))  # met2
eespfal_s0_draft3.add(gdstk.FlexPath([(13.91,16.245),(13.91,9.685)], 0.2, ends="flush", simple_path=True, layer=69, datatype=20))  # met2
eespfal_s0_draft3.add(gdstk.FlexPath([(13.81,9.75),(14.15,9.75)], 0.2, ends="flush", simple_path=True, layer=69, datatype=20))  # met2
eespfal_s0_draft3.add(gdstk.FlexPath([(13.25,16.18),(14.01,16.18)], 0.2, ends="flush", simple_path=True, layer=69, datatype=20))  # met2
eespfal_s0_draft3.add(gdstk.FlexPath([(23.19,14.4),(23.19,12.4)], 0.2, ends="flush", simple_path=True, layer=69, datatype=20))  # met2
eespfal_s0_draft3.add(gdstk.FlexPath([(24.525,11.35),(31.8,11.35)], 0.2, ends="flush", simple_path=True, layer=69, datatype=20))  # met2
eespfal_s0_draft3.add(gdstk.FlexPath([(26.16,20),(26.16,13)], 0.2, ends="flush", simple_path=True, layer=69, datatype=20))  # met2
eespfal_s0_draft3.add(gdstk.FlexPath([(12.64,18.01),(-0.35,18.01)], 0.3, ends="flush", simple_path=True, layer=70, datatype=20))  # met3
eespfal_s0_draft3.add(gdstk.FlexPath([(-0.92,15.34),(12.97,15.34),(12.975,15.34)], 0.3, ends="flush", simple_path=True, layer=70, datatype=20))  # met3
eespfal_s0_draft3.add(gdstk.FlexPath([(-1.49,14.54),(13.095,14.54)], 0.3, ends="flush", simple_path=True, layer=70, datatype=20))  # met3
eespfal_s0_draft3.add(gdstk.FlexPath([(-2.06,18.71),(11.24,18.71),(11.24,18.71)], 0.3, ends="flush", simple_path=True, layer=70, datatype=20))  # met3
eespfal_s0_draft3.add(gdstk.Reference(eespfal_nor_v3, (24.4,11.6)))
eespfal_s0_draft3.add(gdstk.Reference(eespfal_nand_v3, (36.3,14.05), x_reflection=True))
eespfal_s0_draft3.add(gdstk.Reference(eespfal_nand_v3, (24.7,14.05), x_reflection=True))
eespfal_s0_draft3.add(gdstk.Reference(li_mcon_m1, (-1.27,8.55)))
eespfal_s0_draft3.add(gdstk.Reference(li_mcon_m1, (-1.84,9.15)))
eespfal_s0_draft3.add(gdstk.Reference(li_mcon_m1, (-0.7,9.68)))
eespfal_s0_draft3.add(gdstk.Reference(li_mcon_m1, (-2.41,10.25)))
eespfal_s0_draft3.add(gdstk.Reference(li_via_m2, (11.82,16.74)))
eespfal_s0_draft3.add(gdstk.Reference(li_via_m2, (13.05,16.17)))
eespfal_s0_draft3.add(gdstk.Reference(m1_via_m2, (22.97,18.53)))
eespfal_s0_draft3.add(gdstk.Reference(li_mcon_m1, (24.35,16.945)))
eespfal_s0_draft3.add(gdstk.Reference(eespfal_nor_v3, (23.2,15.2), rotation=pi))
eespfal_s0_draft3.add(gdstk.Reference(li_mcon_m1, (-3.55,18.45)))
eespfal_s0_draft3.add(gdstk.Reference(li_mcon_m1, (-2.98,17.95)))
eespfal_s0_draft3.add(gdstk.Reference(eespfal_xor_v3, (7.9,12.3)))
eespfal_s0_draft3.add(gdstk.Reference(li_mcon_m1, (-0.13,17.45)))
eespfal_s0_draft3.add(gdstk.Reference(li_mcon_m1, (0.44,16.95)))
eespfal_s0_draft3.add(gdstk.Reference(eespfal_nand_v3, (46.4,12.75)))
eespfal_s0_draft3.add(gdstk.Reference(li_mcon_m1, (1.01,13.3)))
eespfal_s0_draft3.add(gdstk.Reference(m1_m3, (-2.01,18.91)))
eespfal_s0_draft3.add(gdstk.Reference(li_mcon_m1, (14.25,18)))
eespfal_s0_draft3.add(gdstk.Reference(li_mcon_m1, (14.25,17.4)))
eespfal_s0_draft3.add(gdstk.Reference(li_mcon_m1, (14.25,16.2)))
eespfal_s0_draft3.add(gdstk.Reference(li_mcon_m1, (14.25,16.8)))
eespfal_s0_draft3.add(gdstk.Reference(m1_m3, (11.79,18.91)))
eespfal_s0_draft3.add(gdstk.Reference(m1_m3, (-1.44,14.74)))
eespfal_s0_draft3.add(gdstk.Reference(m1_m3, (13.525,14.74)))
eespfal_s0_draft3.add(gdstk.Reference(m1_m3, (-0.87,15.54)))
eespfal_s0_draft3.add(gdstk.Reference(m1_m3, (13.19,18.21)))
eespfal_s0_draft3.add(gdstk.Reference(m1_m3, (13.525,15.54)))
eespfal_s0_draft3.add(gdstk.Reference(m1_m3, (-0.3,18.195)))
eespfal_s0_draft3.add(gdstk.Reference(li_mcon_m1, (22.7,16.2)))
eespfal_s0_draft3.add(gdstk.Reference(li_mcon_m1, (22.9,17.33), rotation=pi, x_reflection=True))
eespfal_s0_draft3.add(gdstk.Reference(li_mcon_m1, (24.35,18.05)))
eespfal_s0_draft3.add(gdstk.Reference(li_via_m2, (13.05,17.18)))
eespfal_s0_draft3.add(gdstk.Reference(m1_via_m2, (23.4,16.835)))
eespfal_s0_draft3.add(gdstk.Reference(li_via_m2, (11.82,8.64)))
eespfal_s0_draft3.add(gdstk.Reference(li_via_m2, (14.35,9.74)))
eespfal_s0_draft3.add(gdstk.Reference(li_mcon_m1, (11.45,10.5)))
eespfal_s0_draft3.add(gdstk.Reference(li_mcon_m1, (11.45,9.25)))
eespfal_s0_draft3.add(gdstk.Reference(m1_via_m2, (23.19,14.59)))
eespfal_s0_draft3.add(gdstk.Reference(m1_via_m2, (33.29,11.34)))
eespfal_s0_draft3.add(gdstk.Reference(li_via_m2, (33.25,16.79)))
eespfal_s0_draft3.add(gdstk.Reference(li_via_m2, (32,11.34)))
eespfal_s0_draft3.add(gdstk.Reference(li_mcon_m1, (23.525,9.9)))
eespfal_s0_draft3.add(gdstk.Reference(m1_via_m2, (24.325,11.34)))
eespfal_s0_draft3.add(gdstk.Reference(m1_via_m2, (23.19,12.19)))
eespfal_s0_draft3.add(gdstk.Reference(li_via_m2, (26.16,12.79)))
eespfal_s0_draft3.add(gdstk.Reference(li_mcon_m1, (33.12,10.305)))
eespfal_s0_draft3.add(gdstk.Reference(m1_via_m2, (23.94,7.49)))
eespfal_s0_draft3.add(gdstk.Reference(li_via_m2, (24.85,10.59)))
eespfal_s0_draft3.add(gdstk.Reference(li_via_m2, (24.85,9.99)))
eespfal_s0_draft3.add(gdstk.Reference(li_via_m2, (25.26,13.99)))
eespfal_s0_draft3.add(gdstk.Reference(m1_via_m2, (25.7,19.29)))
eespfal_s0_draft3.add(gdstk.Reference(m1_via_m2, (1.65,19.29)))
eespfal_s0_draft3.add(gdstk.Reference(m1_via_m2, (1.65,7.49)))
eespfal_s0_draft3.add(gdstk.Reference(li_via_m2, (2.195,13.99)))
eespfal_s0_draft3.add(gdstk.Reference(li_via_m2, (2.19,12.79)))
eespfal_s0_draft3.add(gdstk.Label('GND', (1.101,13.404), layer=68, texttype=16))
eespfal_s0_draft3.add(gdstk.Label('x0', (-3.447,18.53), layer=68, texttype=16))
eespfal_s0_draft3.add(gdstk.Label('x0_bar', (-2.882,18.225), layer=68, texttype=16))
eespfal_s0_draft3.add(gdstk.Label('x1', (-2.307,18.53), layer=68, texttype=16))
eespfal_s0_draft3.add(gdstk.Label('x1_bar', (-1.737,18.225), layer=68, texttype=16))
eespfal_s0_draft3.add(gdstk.Label('x2', (-1.167,18.535), layer=68, texttype=16))
eespfal_s0_draft3.add(gdstk.Label('x2_bar', (-0.602,18.23), layer=68, texttype=16))
eespfal_s0_draft3.add(gdstk.Label('x3', (-0.027,18.535), layer=68, texttype=16))
eespfal_s0_draft3.add(gdstk.Label('x3_bar', (0.543,18.23), layer=68, texttype=16))
eespfal_s0_draft3.add(gdstk.Label('CLK1', (1.622,19.826), layer=69, texttype=16))
eespfal_s0_draft3.add(gdstk.Label('Dis1', (2.19,19.835), layer=69, texttype=16))
eespfal_s0_draft3.add(gdstk.Label('CLK3', (23.829,19.897), layer=69, texttype=16))
eespfal_s0_draft3.add(gdstk.Label('Dis2', (25.222,19.904), layer=69, texttype=16))
eespfal_s0_draft3.add(gdstk.Label('CLK2', (25.68,19.901), layer=69, texttype=16))
eespfal_s0_draft3.add(gdstk.Label('Dis3', (26.142,19.901), layer=69, texttype=16))
eespfal_s0_draft3.add(gdstk.Label('s0', (33.812,10.575), layer=69, texttype=16))
eespfal_s0_draft3.add(gdstk.Label('s0_bar', (33.801,9.99), layer=69, texttype=16))

lib.write_gds('EESPFAL_s0_draft3.gds')
